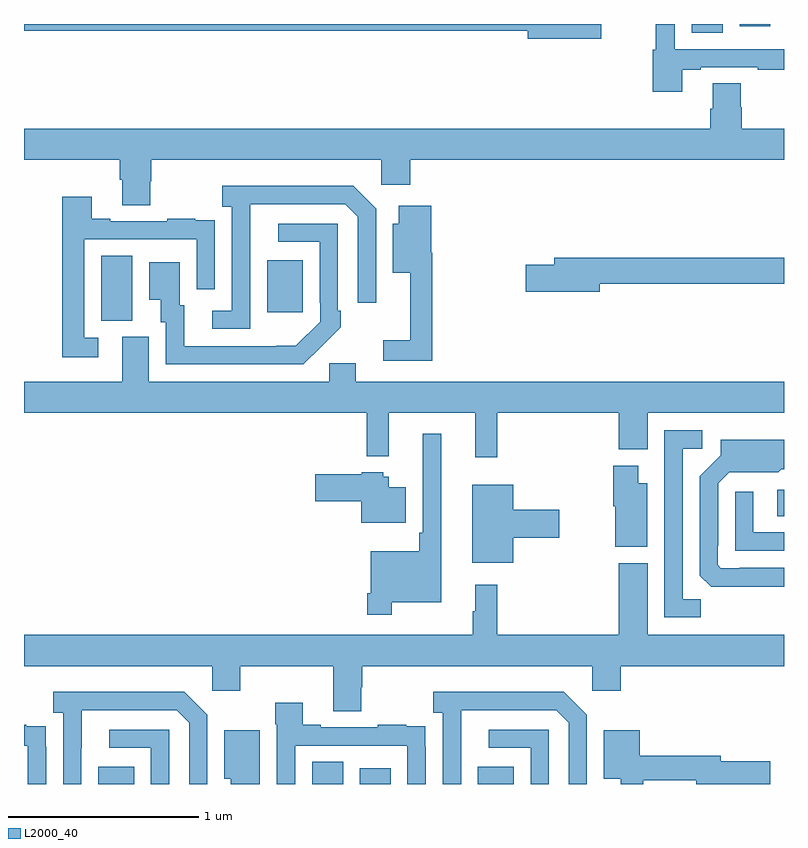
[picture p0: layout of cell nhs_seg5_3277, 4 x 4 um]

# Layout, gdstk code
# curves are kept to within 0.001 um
import gdstk
lib = gdstk.Library(unit=1e-6, precision=1e-09)
def R(c, l, rs):  # rectangles x0, y0, x1, y1
    for r in rs: c.add(gdstk.rectangle(r[:2], r[2:], *l))
def P(c, l, *ps):  # polygons
    for p in ps: c.add(gdstk.Polygon(p, *l))
L2000_40 = (2000, 40)

nhs_seg5_3277 = lib.new_cell('nhs_seg5_3277')
R(nhs_seg5_3277, L2000_40, [(301.391,862.799,301.579,862.891), (302.516,862.799,302.68,862.916), (302.768,862.799,302.929,862.882), (303.389,862.799,303.577,862.891), (304.965,864.208,305,864.348), (301.406,865.237,301.57,865.58), (302.279,865.281,302.467,865.555), (304.514,866.752,304.678,866.799), (304.766,866.787,304.927,866.799)])
P(nhs_seg5_3277, L2000_40, [(304.039,866.799),(301,866.799),(301,866.764),(303.65,866.764),(303.65,866.722),(304.039,866.722)],
  [(304.465,866.559),(304.561,866.559),(304.561,866.571),(304.861,866.571),(304.861,866.559),(305,866.559),(305,866.667),(304.425,866.667),(304.425,866.799),(304.324,866.799),(304.324,866.664),(304.309,866.664),(304.309,866.442),(304.465,866.442)],
  [(301.665,865.971),(301.67,865.971),(301.67,866.084),(302.88,866.084),(302.88,865.953),(303.032,865.953),(303.032,866.084),(305,866.084),(305,866.248),(304.778,866.248),(304.778,866.361),(304.773,866.361),(304.773,866.486),(304.625,866.486),(304.625,866.354),(304.613,866.354),(304.613,866.248),(301,866.248),(301,866.084),(301.505,866.084),(301.505,865.978),(301.517,865.978),(301.517,865.846),(301.665,865.846)],
  [(302.19,865.651),(302.191,865.851),(302.691,865.851),(302.757,865.785),(302.757,865.332),(302.853,865.332),(302.853,865.827),(302.732,865.948),(302.043,865.948),(302.043,865.838),(302.094,865.838),(302.094,865.29),(301.992,865.29),(301.992,865.194),(302.19,865.194)],
  [(301.39,865.149),(301.317,865.149),(301.317,865.665),(301.908,865.665),(301.908,865.404),(302.004,865.404),(302.004,865.658),(302.003,865.658),(302.003,865.767),(301.901,865.767),(301.901,865.774),(301.753,865.774),(301.753,865.761),(301.453,865.761),(301.453,865.774),(301.357,865.774),(301.357,865.891),(301.201,865.891),(301.201,865.044),(301.39,865.044)],
  [(303.149,865.594),(303.143,865.594),(303.143,865.843),(302.972,865.843),(302.972,865.747),(302.942,865.747),(302.942,865.49),(303.032,865.49),(303.032,865.135),(302.892,865.135),(302.892,865.026),(303.149,865.026)],
  [(302.561,865.099),(302.562,865.098),(302.667,865.203),(302.667,865.291),(302.652,865.291),(302.652,865.749),(302.337,865.749),(302.337,865.653),(302.556,865.653),(302.556,865.333),(302.559,865.333),(302.559,865.233),(302.431,865.105),(301.843,865.104),(301.843,865.32),(301.819,865.32),(301.819,865.546),(301.658,865.546),(301.658,865.349),(301.721,865.349),(301.721,865.23),(301.746,865.23),(301.746,865.008),(302.47,865.008)],
  [(304.03,865.432),(305,865.432),(305,865.568),(303.791,865.568),(303.791,865.532),(303.642,865.532),(303.642,865.39),(304.03,865.39)],
  [(303.491,864.752),(304.13,864.752),(304.13,864.56),(304.282,864.56),(304.282,864.752),(305,864.752),(305,864.916),(302.746,864.916),(302.746,865.014),(302.607,865.014),(302.607,864.916),(301.657,864.916),(301.657,865.152),(301.517,865.152),(301.517,864.916),(301,864.916),(301,864.752),(302.803,864.752),(302.803,864.524),(302.921,864.524),(302.921,864.752),(303.374,864.752),(303.374,864.519),(303.491,864.519)],
  [(304.563,863.771),(304.467,863.771),(304.467,864.564),(304.57,864.564),(304.57,864.66),(304.371,864.66),(304.371,863.676),(304.563,863.676)],
  [(302.935,863.756),(303.196,863.756),(303.196,864.643),(303.099,864.643),(303.099,864.121),(303.079,864.121),(303.079,864.025),(302.826,864.025),(302.826,863.803),(302.806,863.803),(302.806,863.691),(302.935,863.691)],
  [(305,863.937),(304.768,863.937),(304.768,863.934),(304.668,863.934),(304.65,863.952),(304.65,864.052),(304.653,864.052),(304.653,864.381),(304.713,864.441),(304.97,864.44),(304.986,864.456),(305,864.456),(305,864.61),(304.667,864.61),(304.667,864.528),(304.557,864.418),(304.557,863.896),(304.616,863.837),(305,863.836)],
  [(304.279,864.382),(304.234,864.382),(304.234,864.475),(304.1,864.475),(304.1,864.261),(304.112,864.261),(304.112,864.047),(304.279,864.047)],
  [(303.01,864.361),(302.92,864.361),(302.92,864.417),(302.892,864.417),(302.892,864.439),(302.778,864.439),(302.778,864.429),(302.532,864.429),(302.532,864.287),(302.774,864.287),(302.774,864.173),(303.01,864.173)],
  [(303.574,864.095),(303.817,864.095),(303.817,864.242),(303.574,864.242),(303.574,864.373),(303.359,864.373),(303.359,863.963),(303.574,863.963)],
  [(305,864.123),(304.839,864.123),(304.839,864.337),(304.743,864.337),(304.743,864.027),(305,864.027)],
  [(302.775,863.307),(302.78,863.307),(302.78,863.42),(303.99,863.42),(303.99,863.289),(304.142,863.289),(304.142,863.42),(305,863.42),(305,863.584),(304.282,863.584),(304.282,863.962),(304.13,863.962),(304.13,863.584),(303.491,863.584),(303.491,863.848),(303.374,863.848),(303.374,863.708),(303.363,863.708),(303.363,863.584),(301,863.584),(301,863.42),(301.992,863.42),(301.992,863.289),(302.139,863.289),(302.139,863.42),(302.627,863.42),(302.627,863.182),(302.775,863.182)],
  [(303.3,862.987),(303.301,863.187),(303.801,863.187),(303.867,863.121),(303.867,862.799),(303.963,862.799),(303.963,863.163),(303.842,863.284),(303.153,863.284),(303.153,863.174),(303.204,863.174),(303.204,862.799),(303.3,862.799)],
  [(301.302,862.987),(301.303,863.187),(301.803,863.187),(301.869,863.121),(301.869,862.799),(301.965,862.799),(301.965,863.163),(301.844,863.284),(301.155,863.284),(301.155,863.174),(301.206,863.174),(301.206,862.799),(301.302,862.799)],
  [(302.427,863.001),(303.018,863.001),(303.018,862.799),(303.114,862.799),(303.114,862.994),(303.113,862.994),(303.113,863.103),(303.011,863.103),(303.011,863.11),(302.863,863.11),(302.863,863.097),(302.563,863.097),(302.563,863.11),(302.467,863.11),(302.467,863.227),(302.323,863.227),(302.323,863.114),(302.331,863.114),(302.331,862.799),(302.427,862.799)],
  [(301.116,862.994),(301.115,862.994),(301.115,863.103),(301.013,863.103),(301.013,863.11),(301,863.11),(301,863.001),(301.02,863.001),(301.02,862.799),(301.116,862.799)],
  [(303.762,863.085),(303.447,863.085),(303.447,862.989),(303.666,862.989),(303.666,862.799),(303.762,862.799)],
  [(301.764,863.085),(301.449,863.085),(301.449,862.989),(301.668,862.989),(301.668,862.799),(301.764,862.799)],
  [(302.242,863.083),(302.054,863.083),(302.054,862.826),(302.087,862.826),(302.087,862.799),(302.242,862.799)],
  [(304.259,862.819),(304.538,862.819),(304.538,862.799),(304.927,862.799),(304.927,862.919),(304.666,862.919),(304.666,862.948),(304.24,862.948),(304.24,863.083),(304.052,863.083),(304.052,862.826),(304.142,862.826),(304.142,862.799),(304.259,862.799)])

lib.write_gds('nhs_seg5_3277.gds')
